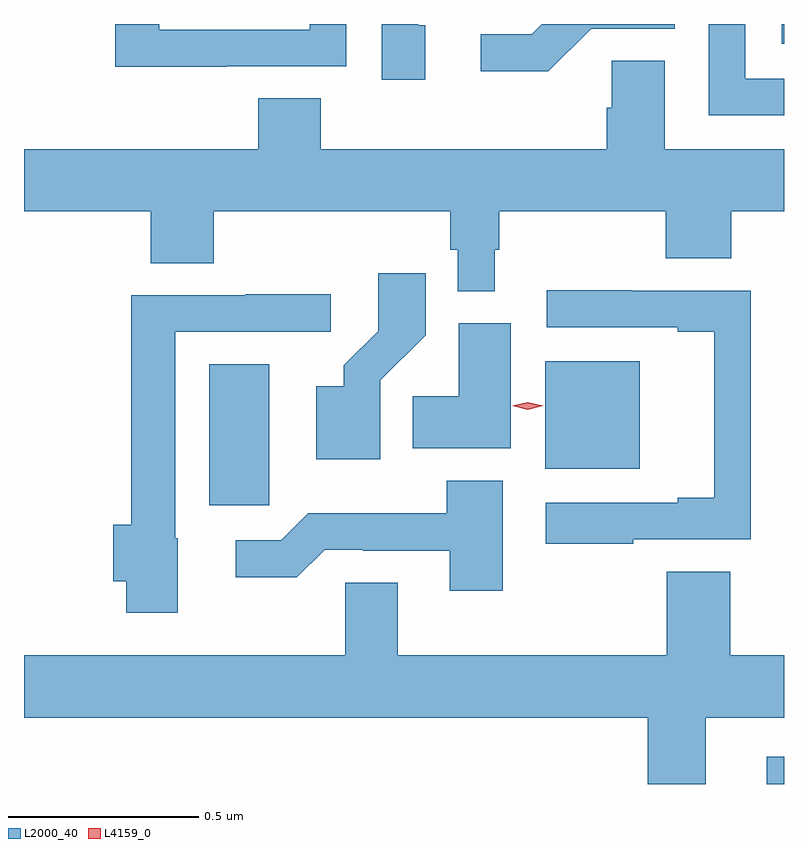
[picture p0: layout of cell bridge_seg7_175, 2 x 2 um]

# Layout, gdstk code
import gdstk
lib = gdstk.Library(unit=1e-6, precision=1e-09)
def R(c, l, rs):  # rectangles x0, y0, x1, y1
    for r in rs: c.add(gdstk.rectangle(r[:2], r[2:], *l))
def P(c, l, *ps):  # polygons
    for p in ps: c.add(gdstk.Polygon(p, *l))
L2000_40 = (2000, 40)
L4159_0 = (4159, 0)

bridge_seg7_175 = lib.new_cell('bridge_seg7_175')
R(bridge_seg7_175, L2000_40, [(456.983,1041.733,457.029,1041.805), (455.516,1042.467,455.674,1042.837), (456.401,1042.562,456.649,1042.846), (457.023,1043.681,457.029,1043.733)])
P(bridge_seg7_175, L2000_40, [(457.029,1043.589),(456.927,1043.589),(456.927,1043.733),(456.831,1043.733),(456.831,1043.493),(457.029,1043.493)],
  [(455.561,1043.622),(455.877,1043.622),(455.877,1043.733),(455.781,1043.733),(455.781,1043.718),(455.385,1043.718),(455.385,1043.733),(455.269,1043.733),(455.269,1043.621),(455.561,1043.621)],
  [(456.085,1043.73),(456.066,1043.73),(456.066,1043.733),(455.97,1043.733),(455.97,1043.586),(456.085,1043.586)],
  [(456.522,1043.721),(456.741,1043.721),(456.741,1043.733),(456.392,1043.733),(456.365,1043.706),(456.231,1043.706),(456.231,1043.609),(456.409,1043.609)],
  [(455.81,1043.537),(455.645,1043.537),(455.645,1043.404),(455.029,1043.404),(455.029,1043.24),(455.363,1043.24),(455.363,1043.104),(455.528,1043.104),(455.528,1043.24),(456.151,1043.24),(456.151,1043.139),(456.171,1043.139),(456.171,1043.03),(456.268,1043.03),(456.268,1043.139),(456.28,1043.139),(456.28,1043.24),(456.718,1043.24),(456.718,1043.116),(456.89,1043.116),(456.89,1043.24),(457.029,1043.24),(457.029,1043.404),(456.715,1043.404),(456.715,1043.636),(456.576,1043.636),(456.576,1043.513),(456.563,1043.513),(456.563,1043.404),(455.81,1043.404)],
  [(455.967,1042.795),(456.086,1042.914),(456.086,1043.077),(455.961,1043.077),(455.961,1042.925),(455.87,1042.835),(455.87,1042.78),(455.798,1042.78),(455.798,1042.587),(455.967,1042.587)],
  [(456.632,1042.377),(456.942,1042.377),(456.942,1043.031),(456.629,1043.031),(456.629,1043.033),(456.405,1043.033),(456.405,1042.935),(456.749,1042.935),(456.749,1042.923),(456.845,1042.923),(456.845,1042.486),(456.749,1042.486),(456.749,1042.473),(456.402,1042.473),(456.402,1042.365),(456.632,1042.365)],
  [(455.434,1042.38),(455.427,1042.38),(455.427,1042.923),(455.836,1042.923),(455.836,1043.022),(455.611,1043.022),(455.611,1043.019),(455.311,1043.019),(455.311,1042.415),(455.264,1042.415),(455.264,1042.266),(455.298,1042.266),(455.298,1042.184),(455.434,1042.184)],
  [(456.31,1042.945),(456.173,1042.945),(456.173,1042.754),(456.052,1042.754),(456.052,1042.616),(456.31,1042.616)],
  [(456.289,1042.531),(456.142,1042.531),(456.142,1042.445),(455.777,1042.445),(455.706,1042.374),(455.586,1042.374),(455.586,1042.277),(455.747,1042.277),(455.82,1042.35),(455.92,1042.35),(455.92,1042.347),(456.149,1042.347),(456.149,1042.242),(456.289,1042.242)],
  [(456.823,1041.908),(457.029,1041.908),(457.029,1042.072),(456.887,1042.072),(456.887,1042.292),(456.721,1042.292),(456.721,1042.072),(456.013,1042.072),(456.013,1042.262),(455.874,1042.262),(455.874,1042.072),(455.029,1042.072),(455.029,1041.908),(456.671,1041.908),(456.671,1041.733),(456.823,1041.733)])
P(bridge_seg7_175, L4159_0, [(456.355,1042.718),(456.314,1042.728),(456.314,1042.728),(456.314,1042.729),(456.355,1042.738),(456.395,1042.729),(456.396,1042.728),(456.395,1042.728)])

lib.write_gds('bridge_seg7_175.gds')
